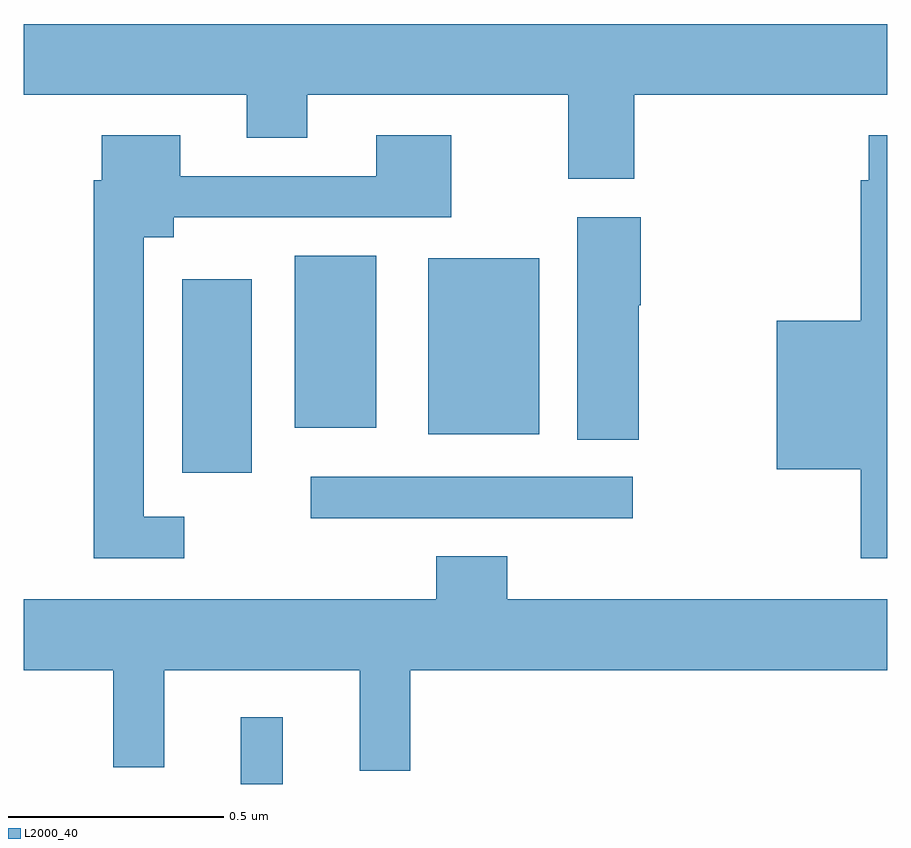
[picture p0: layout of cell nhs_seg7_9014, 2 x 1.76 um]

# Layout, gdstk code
import gdstk
lib = gdstk.Library(unit=1e-6, precision=1e-09)
def R(c, l, rs):  # rectangles x0, y0, x1, y1
    for r in rs: c.add(gdstk.rectangle(r[:2], r[2:], *l))
def P(c, l, *ps):  # polygons
    for p in ps: c.add(gdstk.Polygon(p, *l))
L2000_40 = (2000, 40)

nhs_seg7_9014 = lib.new_cell('nhs_seg7_9014')
R(nhs_seg7_9014, L2000_40, [(232.503,1019,232.6,1019.155), (232.665,1019.616,233.41,1019.712), (232.367,1019.721,232.528,1020.169), (232.937,1019.81,233.194,1020.217), (232.628,1019.825,232.816,1020.223)])
P(nhs_seg7_9014, L2000_40, [(233.414,1020.596),(234,1020.596),(234,1020.76),(232,1020.76),(232,1020.596),(232.517,1020.596),(232.517,1020.497),(232.657,1020.497),(232.657,1020.596),(233.261,1020.596),(233.261,1020.402),(233.414,1020.402)],
  [(234,1020.502),(233.957,1020.502),(233.957,1020.398),(233.938,1020.398),(233.938,1020.073),(233.744,1020.073),(233.744,1019.729),(233.938,1019.729),(233.938,1019.523),(234,1019.523)],
  [(232.372,1019.619),(232.278,1019.619),(232.278,1020.266),(232.348,1020.266),(232.348,1020.312),(232.99,1020.312),(232.99,1020.502),(232.817,1020.502),(232.817,1020.408),(232.363,1020.408),(232.363,1020.502),(232.181,1020.502),(232.181,1020.398),(232.162,1020.398),(232.162,1019.523),(232.372,1019.523)],
  [(233.424,1020.109),(233.429,1020.109),(233.429,1020.313),(233.282,1020.313),(233.282,1019.797),(233.424,1019.797)],
  [(232.895,1019.264),(234,1019.264),(234,1019.428),(233.12,1019.428),(233.12,1019.527),(232.955,1019.527),(232.955,1019.428),(232,1019.428),(232,1019.264),(232.207,1019.264),(232.207,1019.039),(232.325,1019.039),(232.325,1019.264),(232.778,1019.264),(232.778,1019.031),(232.895,1019.031)])

lib.write_gds('nhs_seg7_9014.gds')
